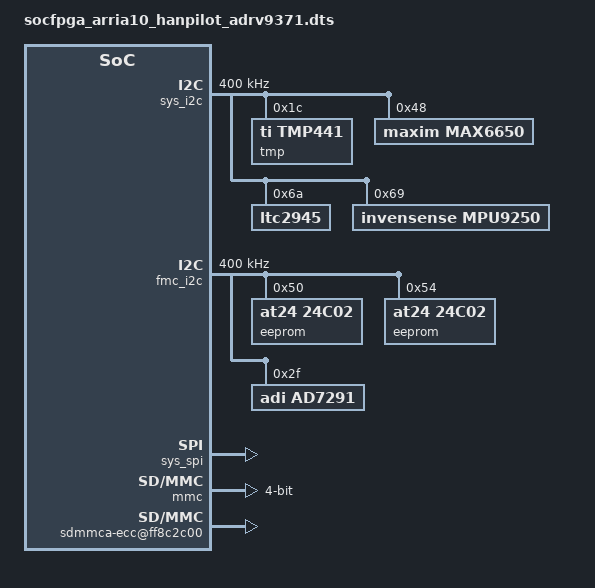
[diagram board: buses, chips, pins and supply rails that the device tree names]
/*
 * Copyright (C) 2014-2015 Altera Corporation <www.altera.com>
 *
 * This program is free software; you can redistribute it and/or modify
 * it under the terms of the GNU General Public License as published by
 * the Free Software Foundation; either version 2 of the License, or
 * (at your option) any later version.
 *
 * This program is distributed in the hope that it will be useful,
 * but WITHOUT ANY WARRANTY; without even the implied warranty of
 * MERCHANTABILITY or FITNESS FOR A PARTICULAR PURPOSE.  See the
 * GNU General Public License for more details.
 *
 * You should have received a copy of the GNU General Public License
 * along with this program.  If not, see <http://www.gnu.org/licenses/>.
 */

/dts-v1/;
#include "socfpga_arria10_hanpilot.dtsi"
#include <dt-bindings/iio/frequency/ad9528.h>
#include <dt-bindings/interrupt-controller/irq.h>

&mmc {
	status = "okay";
	cap-sd-highspeed;
	broken-cd;
	bus-width = <4>;
};

&eccmgr {
	sdmmca-ecc@ff8c2c00 {
		compatible = "altr,socfpga-sdmmc-ecc";
		reg = <0xff8c2c00 0x400>;
		altr,ecc-parent = <&mmc>;
		interrupts = <15 IRQ_TYPE_LEVEL_HIGH>,
			     <47 IRQ_TYPE_LEVEL_HIGH>,
			     <16 IRQ_TYPE_LEVEL_HIGH>,
			     <48 IRQ_TYPE_LEVEL_HIGH>;
	};
};

/ {
	clocks {
		sys_clk: sys_clk {
			#clock-cells = <0>;
			compatible = "fixed-clock";
			clock-frequency = <100000000>;
			clock-output-names = "system_clock";
		};

		dma_clk: dma_clk {
			#clock-cells = <0x0>;
			compatible = "fixed-clock";
			clock-frequency = <250000000>;
			clock-output-names = "dma_clk";
		};
	};

	soc {
		sys_hps_bridges: bridge@ff200000 {
			compatible = "simple-bus";
			reg = <0xff200000 0x00200000>;
			#address-cells = <1>;
			#size-cells = <1>;
			ranges = <0x00000000 0xff200000 0x00200000>;
			
      sys_i2c: i2c@80 {
        compatible = "altr,softip-i2c-v1.0";
        reg = <0x00000080 0x00000040>;
        interrupt-parent = <&intc>;
        interrupts = <0 34 IRQ_TYPE_LEVEL_HIGH>;
        clocks = <&sys_clk>;
        clock-frequency = <400000>;
        #address-cells = <1>;
        #size-cells = <0>;
        fifo-size = <64>;

        tmp@1C {
          compatible = "ti,tmp441";
          reg = <0x1C>;
        };
        
        max6650@48 {
          reg = <0x48>;
          compatible = "maxim,max6650";
          maxim,fan-microvolt = <12000000>;
          maxim,fan-prescale = <4>;
          maxim,fan-target-rpm = <6000>;
        };
        
        ltc2945@6A {
          compatible = "ltc2945";
          reg = <0x6A>;
        };
        

        mpu9250@69 {
          compatible = "invensense,mpu9250";
          reg = <0x69>;
          interrupt-parent = <&intc>;
          interrupts = <0 51 IRQ_TYPE_LEVEL_HIGH>;
        };

      };
      
      fmc_i2c: i2c@C0 {
        compatible = "altr,softip-i2c-v1.0";
        reg = <0x000000C0 0x00000040>;
        interrupt-parent = <&intc>;
        interrupts = <0 35 IRQ_TYPE_LEVEL_HIGH>;
        clocks = <&sys_clk>;
        clock-frequency = <400000>;
        #address-cells = <1>;
        #size-cells = <0>;
        fifo-size = <128>;

        eeprom@50 {
          compatible = "at24,24c02";
          reg = <0x50>;
        };

        eeprom@54 {
          compatible = "at24,24c02";
          reg = <0x54>;
        };

        ad7291@2f {
          compatible = "adi,ad7291";
          reg = <0x2f>;
        };

      };
			
      sys_gpio_bd: sys-gpio-bd@10 {
				compatible = "altr,pio-16.0", "altr,pio-1.0";
				reg = <0x00000010 0x00000010>;
				altr,gpio-bank-width = <32>;
				#gpio-cells = <2>;
				gpio-controller;
			};
			
      sys_gpio_in: sys-gpio-in@0 {
				compatible = "altr,pio-16.0", "altr,pio-1.0";
				reg = <0x00000000 0x00000010>;
				altr,gpio-bank-width = <32>;
				#gpio-cells = <2>;
				gpio-controller;
			};

			sys_gpio_out: gpio@20 {
				compatible = "altr,pio-1.0";
				reg = <0x00000020 0x00000010>;
				altr,gpio-bank-width = <32>;
				resetvalue = <0>;
				#gpio-cells = <2>;
				gpio-controller;
			};

			sys_spi: spi@40 {
				compatible = "altr,spi-1.0";
				reg = <0x00000040 0x00000020>;
				interrupt-parent = <&intc>;
				interrupts = <0 26 IRQ_TYPE_LEVEL_HIGH>;
				#address-cells = <0x1>;
				#size-cells = <0x0>;
			};
			
			axi_ad9371_tx_jesd: axi-jesd204-tx@20000 {
				compatible = "adi,axi-jesd204-tx-1.0";
				reg = <0x00020000 0x4000>;

				interrupt-parent = <&intc>;
				interrupts = <0 28 IRQ_TYPE_LEVEL_HIGH>;

				clocks = <&sys_clk>, <&tx_device_clk_pll>, <&axi_ad9371_tx_xcvr>;
				clock-names = "s_axi_aclk", "device_clk", "lane_clk";

				adi,octets-per-frame = <2>;
				adi,frames-per-multiframe = <32>;
				adi,converter-resolution = <14>;
				adi,bits-per-sample = <16>;
				adi,converters-per-device = <4>;
				adi,control-bits-per-sample = <2>;

				#clock-cells = <0>;
				clock-output-names = "jesd_tx_lane_clk";
			};

			axi_ad9371_rx_jesd: axi-jesd204-rx@30000 {
				compatible = "adi,axi-jesd204-rx-1.0";
				reg = <0x00030000 0x4000>;

				interrupt-parent = <&intc>;
				interrupts = <0 27 IRQ_TYPE_LEVEL_HIGH>;

				clocks = <&sys_clk>, <&rx_device_clk_pll>, <&axi_ad9371_rx_xcvr>;
				clock-names = "s_axi_aclk", "device_clk", "lane_clk";

				adi,octets-per-frame = <4>;
				adi,frames-per-multiframe = <32>;
				adi,converter-resolution = <16>;
				adi,bits-per-sample = <16>;
				adi,converters-per-device = <4>;

				#clock-cells = <0>;
				clock-output-names = "jesd_rx_lane_clk";
			};

			axi_ad9371_rx_os_jesd: axi-jesd204-rx@40000 {
				compatible = "adi,axi-jesd204-rx-1.0";
				reg = <0x00040000 0x4000>;

				interrupt-parent = <&intc>;
				interrupts = <0 29 IRQ_TYPE_LEVEL_HIGH>;

				clocks = <&sys_clk>, <&rx_os_device_clk_pll>, <&axi_ad9371_rx_os_xcvr>;
				clock-names = "s_axi_aclk", "device_clk", "lane_clk";

				adi,octets-per-frame = <2>;
				adi,frames-per-multiframe = <32>;
				adi,converter-resolution = <16>;
				adi,bits-per-sample = <16>;
				adi,converters-per-device = <4>;

				#clock-cells = <0>;
				clock-output-names = "jesd_rx_os_lane_clk";
			};

			axi_ad9371_tx_xcvr: axi-ad9371-tx-xcvr@24000 {
				compatible = "adi,altera-adxcvr-1.00.a";
				reg = <0x00024000 0x00001000>,
					<0x00026000 0x00001000>,
					<0x00028000 0x00001000>,
					<0x00029000 0x00001000>,
					<0x0002a000 0x00001000>,
					<0x0002b000 0x00001000>;
				reg-names = "adxcvr", "atx-pll", "adxcfg-0", "adxcfg-1", "adxcfg-2", "adxcfg-3";

				clocks = <&clk0_ad9528 1>, <&tx_device_clk_pll>;
				clock-names = "ref", "link";

				#clock-cells = <0>;
				clock-output-names = "jesd204_tx_lane_clock";
			};

			axi_ad9371_rx_xcvr: axi-ad9371-rx-xcvr@34000 {
				compatible = "adi,altera-adxcvr-1.00.a";
				reg = <0x00034000 0x00001000>,
					<0x00038000 0x00001000>,
					<0x00039000 0x00001000>;
				reg-names = "adxcvr", "adxcfg-0", "adxcfg-1";

				clocks = <&clk0_ad9528 1>, <&rx_device_clk_pll>;
				clock-names = "ref", "link";

				#clock-cells = <0>;
				clock-output-names = "jesd204_rx_lane_clock";
			};

			axi_ad9371_rx_os_xcvr: axi-ad9371-rx-os-xcvr@44000 {
				compatible = "adi,altera-adxcvr-1.00.a";
				reg = <0x00044000 0x00001000>,
					<0x00048000 0x00001000>,
					<0x00049000 0x00001000>;
				reg-names = "adxcvr", "adxcfg-0", "adxcfg-1";

				clocks = <&clk0_ad9528 1>, <&rx_os_device_clk_pll>;
				clock-names = "ref", "link";

				#clock-cells = <0>;
				clock-output-names = "jesd204_rx_os_lane_clock";
			};

			axi_ad9371_tx_dma: axi-ad9371-tx-dma@2c000 {
				compatible = "adi,axi-dmac-1.00.a";
				reg = <0x0002c000 0x00004000>;
				interrupt-parent = <&intc>;
				interrupts = <0 30 IRQ_TYPE_LEVEL_HIGH>;
				#dma-cells = <1>;
				clocks = <&dma_clk>;

				adi,channels {
					#size-cells = <0>;
					#address-cells = <1>;
					dma-channel@0 {
						reg = <0>;
						adi,source-bus-width = <128>;
						adi,source-bus-type = <0>;
						adi,destination-bus-width = <128>;
						adi,destination-bus-type = <1>;
					};
				};
			};

			axi_ad9371_rx_dma: axi-ad9371-rx-dma@3c000 {
				compatible = "adi,axi-dmac-1.00.a";
				reg = <0x0003c000 0x00004000>;
				interrupt-parent = <&intc>;
				interrupts = <0 31 IRQ_TYPE_LEVEL_HIGH>;
				#dma-cells = <1>;
				clocks = <&dma_clk>;

				adi,channels {
					#size-cells = <0>;
					#address-cells = <1>;
					dma-channel@0 {
						reg = <0>;
						adi,source-bus-width = <64>;
						adi,source-bus-type = <2>;
						adi,destination-bus-width = <128>;
						adi,destination-bus-type = <0>;
					};
				};
			};

			axi_ad9371_rx_os_dma: axi-ad9371-rx-os-dma@4c000 {
				compatible = "adi,axi-dmac-1.00.a";
				reg = <0x0004c000 0x00004000>;
				interrupt-parent = <&intc>;
				interrupts = <0 32 IRQ_TYPE_LEVEL_HIGH>;
				#dma-cells = <1>;
				clocks = <&dma_clk>;

				adi,channels {
					#size-cells = <0>;
					#address-cells = <1>;
					dma-channel@0 {
						reg = <0>;
						adi,source-bus-width = <64>;
						adi,source-bus-type = <2>;
						adi,destination-bus-width = <128>;
						adi,destination-bus-type = <0>;
					};
				};
			};

			axi_ad9371_rx: axi-ad9371-rx-hpc@50000 {
				compatible = "adi,axi-ad9371-rx-1.0";
				reg = <0x00050000 0x00008000>;
				dmas = <&axi_ad9371_rx_dma 0>;
				dma-names = "rx";
				spibus-connected = <&trx0_ad9371>;
			};

			axi_ad9371_tx: axi-ad9371-tx-hpc@54000 {
				compatible = "adi,axi-ad9371-tx-1.0";
				reg = <0x00054000 0x00004000>;
				dmas = <&axi_ad9371_tx_dma 0>;
				dma-names = "tx";
				clocks = <&trx0_ad9371 2>;
				clock-names = "sampl_clk";
				spibus-connected = <&trx0_ad9371>;
				adi,axi-pl-fifo-enable;
				plddrbypass-gpios = <&sys_gpio_out 28 0>;
			};

			xcvr_rx_os_core: axi-ad9371-rx-obs-hpc@58000 {
				compatible = "adi,axi-ad9371-obs-1.0";
				reg = <0x00058000 0x00001000>;
				dmas = <&axi_ad9371_rx_os_dma 0>;
				dma-names = "rx";
				clocks = <&trx0_ad9371 1>;
				clock-names = "sampl_clk";
			};

			tx_device_clk_pll: altera-a10-fpll@25000 {
				compatible = "altr,a10-fpll";
				reg = <0x00025000 0x1000>;
				clocks = <&clk0_ad9528 1>;

				#clock-cells = <0>;
				clock-output-names = "jesd204_tx_link_clock";
			};

			rx_device_clk_pll: altera-a10-fpll@35000 {
				compatible = "altr,a10-fpll";
				reg = <0x00035000 0x1000>;
				clocks = <&clk0_ad9528 1>;

				#clock-cells = <0>;
				clock-output-names = "jesd204_rx_link_clock";
			};

			rx_os_device_clk_pll: altera-a10-fpll@45000 {
				compatible = "altr,a10-fpll";
				reg = <0x00045000 0x1000>;
				clocks = <&clk0_ad9528 1>;

				#clock-cells = <0>;
				clock-output-names = "jesd204_rx_os_link_clock";
			};
    };
  };
};

#define fmc_spi sys_spi

#include "adi-adrv9371.dtsi"

&clk0_ad9528 {
	reg = <0>;
	reset-gpios = <&sys_gpio_out 27 0>;
};

&trx0_ad9371 {
	reg = <1>;
	reset-gpios = <&sys_gpio_out 20 0>;
	test-gpios = <&sys_gpio_out 21 0>;
	sysref_req-gpios = <&sys_gpio_out 26 0>;
	rx2_enable-gpios = <&sys_gpio_out 22 0>;
	rx1_enable-gpios = <&sys_gpio_out 23 0>;
	tx2_enable-gpios = <&sys_gpio_out 24 0>;
	tx1_enable-gpios = <&sys_gpio_out 25 0>;
};

